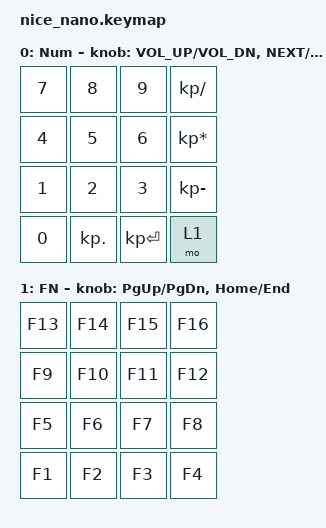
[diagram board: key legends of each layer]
/*
 * void16-redux-mod default keymap
 *
 * Physical grid (viewed from typing position, USB at the top):
 *
 *      enc_L | [ 1] [ 2] [ 3] [ 4] ... (rows below are the 4x4) ... | enc_R
 *            | ( R1 ) ( R2 ) ( R3 ) ( R4 )
 *            |  7 8 9  -        <- layer 0 numpad, shown in README
 *
 * SPDX-License-Identifier: MIT
 */

#include <behaviors.dtsi>
#include <dt-bindings/zmk/keys.h>
#include <dt-bindings/zmk/kscan_mock.h>
#include <dt-bindings/zmk/outputs.h>
#include <dt-bindings/zmk/bt.h>

/ {
    behaviors {
        /delete-property/ dev_status;
    };

    keymap {
        compatible = "zmk,keymap";

        default_layer {
            display-name = "Num";
            // ┌─────┬─────┬─────┬─────┐
            // │  7  │  8  │  9  │  /  │
            // ├─────┼─────┼─────┼─────┤
            // │  4  │  5  │  6  │  *  │
            // ├─────┼─────┼─────┼─────┤
            // │  1  │  2  │  3  │  -  │
            // ├─────┼─────┼─────┼─────┤
            // │  0  │  .  │ ENT │ FN  │
            // └─────┴─────┴─────┴─────┘
            bindings = <
                &kp N7   &kp N8   &kp N9   &kp KP_DIVIDE
                &kp N4   &kp N5   &kp N6   &kp KP_MULTIPLY
                &kp N1   &kp N2   &kp N3   &kp KP_MINUS
                &kp N0   &kp KP_DOT &kp KP_ENTER  &mo 1
            >;

            // enc_L: volume · enc_R: media prev/next
            sensor-bindings = <
                &inc_dec_kp C_VOL_UP  C_VOL_DN
                &inc_dec_kp C_NEXT      C_PREV
            >;
        };

        fn_layer {
            display-name = "FN";
            // ┌─────┬─────┬─────┬─────┐
            // │ F13 │ F14 │ F15 │ F16 │
            // ├─────┼─────┼─────┼─────┤
            // │ F9  │ F10 │ F11 │ F12 │
            // ├─────┼─────┼─────┼─────┤
            // │ F5  │ F6  │ F7  │ F8  │
            // ├─────┼─────┼─────┼─────┤
            // │ F1  │ F2  │ F3  │ F4  │
            // └─────┴─────┴─────┴─────┘
            bindings = <
                &kp F13  &kp F14  &kp F15  &kp F16
                &kp F9   &kp F10  &kp F11  &kp F12
                &kp F5   &kp F6   &kp F7   &kp F8
                &kp F1   &kp F2   &kp F3   &kp F4
            >;

            // enc_L: page scroll · enc_R: home/end
            sensor-bindings = <
                &inc_dec_kp PG_UP  PG_DN
                &inc_dec_kp HOME   END
            >;
        };
    };
};
